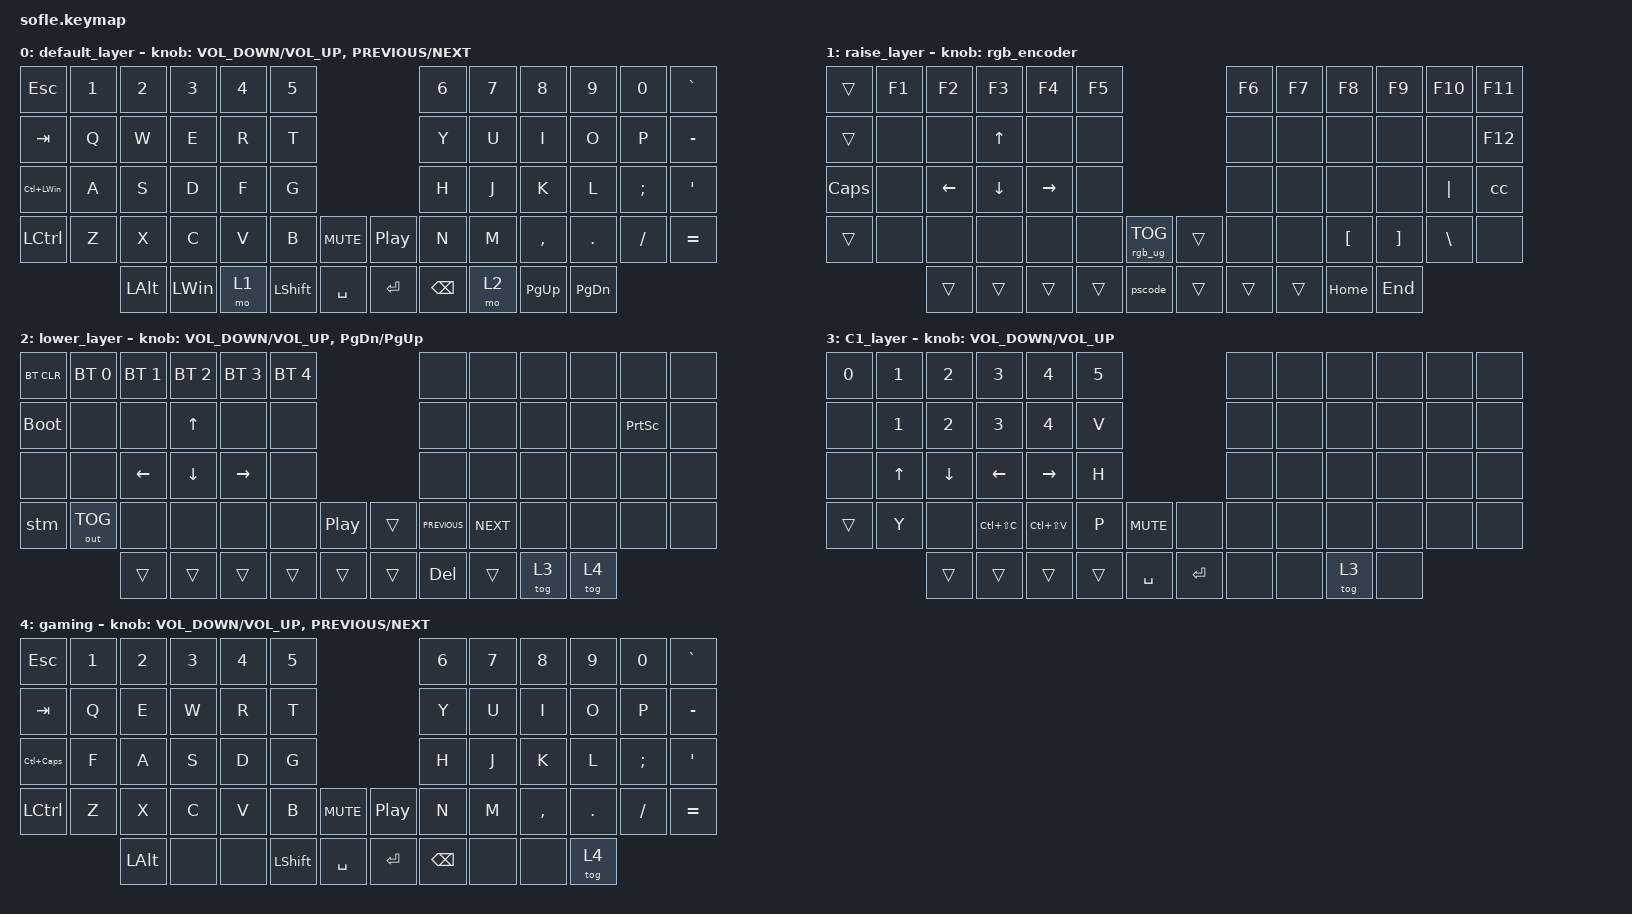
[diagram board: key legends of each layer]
/*
 * Copyright (c) 2020 The ZMK Contributors
 *
 * SPDX-License-Identifier: MIT
 */

#include <behaviors.dtsi>
#include <dt-bindings/zmk/bt.h>
#include <dt-bindings/zmk/keys.h>
#include <dt-bindings/zmk/outputs.h>
#include <dt-bindings/zmk/rgb.h>

&left_encoder { resolution = <2>; };

&right_encoder { resolution = <2>; };

/ {
    macros {
        // System and Power

        tm: tm {
            label = "TASK_MANAGER";
            compatible = "zmk,behavior-macro";
            #binding-cells = <0>;
            bindings =
                <&macro_press>,
                <&kp LCTRL &kp LSHFT>,
                <&macro_tap>,
                <&kp ESC>,
                <&macro_release>,
                <&kp LCTRL &kp LSHFT>;
        };

        slp: slp {
            label = "SLEEP";
            compatible = "zmk,behavior-macro";
            #binding-cells = <0>;
            bindings =
                <&macro_press>,
                <&kp LGUI>,
                <&macro_tap>,
                <&kp X>,
                <&macro_release>,
                <&kp LGUI>,
                <&macro_tap>,
                <&kp U &kp S>;
        };

        rst: rst {
            label = "RESTART";
            compatible = "zmk,behavior-macro";
            #binding-cells = <0>;
            bindings =
                <&macro_press>,
                <&kp LGUI>,
                <&macro_tap>,
                <&kp X>,
                <&macro_release>,
                <&kp LGUI>,
                <&macro_tap>,
                <&kp U &kp R>;
        };

        off: off {
            label = "SHUTDOWN";
            compatible = "zmk,behavior-macro";
            #binding-cells = <0>;
            bindings =
                <&macro_press>,
                <&kp LGUI>,
                <&macro_tap>,
                <&kp X>,
                <&macro_release>,
                <&kp LGUI>,
                <&macro_tap>,
                <&kp U &kp U>;
        };

        // Bluetooth

        ubt0: ubt0 {
            label = "USE_BLUE_TOOTH_0";
            compatible = "zmk,behavior-macro";
            #binding-cells = <0>;
            wait-ms = <0>;
            tap-ms = <0>;
            bindings =
                <&macro_tap>,
                <&bt BT_SEL 0>,
                <&macro_tap>,
                <&rgb_ug RGB_COLOR_HSB(240,100,20)>;
        };

        ubt1: ubt1 {
            label = "USE_BLUE_TOOTH_1";
            compatible = "zmk,behavior-macro";
            #binding-cells = <0>;
            wait-ms = <0>;
            tap-ms = <0>;
            bindings =
                <&macro_tap>,
                <&bt BT_SEL 1>,
                <&macro_tap>,
                <&rgb_ug RGB_COLOR_HSB(120,100,20)>;
        };

        ubt2: ubt2 {
            label = "USE_BLUE_TOOTH_2";
            compatible = "zmk,behavior-macro";
            #binding-cells = <0>;
            wait-ms = <0>;
            tap-ms = <0>;
            bindings =
                <&macro_tap>,
                <&bt BT_SEL 2>,
                <&macro_tap>,
                <&rgb_ug RGB_COLOR_HSB(0,100,20)>;
        };

        // Various Macros

        teams_mute: teams_mute {
            label = "TEAMS_MUTE";
            compatible = "zmk,behavior-macro";
            #binding-cells = <0>;
            tap-ms = <0>;
            wait-ms = <0>;
            bindings =
                <&macro_tap>,
                <&bt BT_SEL 1>,
                <&macro_wait_time 100>,
                <&macro_press>,
                <&kp LGUI>,
                <&macro_tap>,
                <&kp N3>,
                <&macro_release>,
                <&kp LGUI>,
                <&macro_wait_time 50>,
                <&macro_press>,
                <&kp LCTRL &kp LSHFT>,
                <&macro_tap>,
                <&kp M>,
                <&macro_release>,
                <&kp LCTRL &kp LSHFT>;
        };

        // Windows alt code Special Characters        

        smfada_a: smfada_a {
            label = "SMALL_FADA_A";
            compatible = "zmk,behavior-macro";
            #binding-cells = <0>;
            tap-ms = <0>;
            wait-ms = <0>;
            bindings =
                <&macro_press>,
                <&kp LALT>,
                <&macro_tap>,
                <&kp KP_N0 &kp KP_N2 &kp KP_N2 &kp KP_N5>,
                <&macro_release>,
                <&kp LALT>;
        };

        lfada_a: lfada_a {
            label = "LARGE_FADA_A";
            compatible = "zmk,behavior-macro";
            #binding-cells = <0>;
            tap-ms = <0>;
            wait-ms = <0>;
            bindings =
                <&macro_press>,
                <&kp LALT>,
                <&macro_tap>,
                <&kp KP_N0 &kp KP_N1 &kp KP_N9 &kp KP_N3>,
                <&macro_release>,
                <&kp LALT>;
        };

        smumlaut_a: smumlaut_a {
            label = "SMALL_UMLAUT_A";
            compatible = "zmk,behavior-macro";
            #binding-cells = <0>;
            tap-ms = <0>;
            wait-ms = <0>;
            bindings =
                <&macro_press>,
                <&kp LALT>,
                <&macro_tap>,
                <&kp KP_N0 &kp KP_N2 &kp KP_N2 &kp KP_N8>,
                <&macro_release>,
                <&kp LALT>;
        };

        lumlaut_a: lumlaut_a {
            label = "LARGE_UMLAUT_A";
            compatible = "zmk,behavior-macro";
            #binding-cells = <0>;
            tap-ms = <0>;
            wait-ms = <0>;
            bindings =
                <&macro_press>,
                <&kp LALT>,
                <&macro_tap>,
                <&kp KP_N0 &kp KP_N1 &kp KP_N9 &kp KP_N6>,
                <&macro_release>,
                <&kp LALT>;
        };

        smlat_ae: smlat_ae {
            label = "SMALL_LATIN_AE";
            compatible = "zmk,behavior-macro";
            #binding-cells = <0>;
            tap-ms = <0>;
            wait-ms = <0>;
            bindings =
                <&macro_press>,
                <&kp LALT>,
                <&macro_tap>,
                <&kp KP_N0 &kp KP_N2 &kp KP_N3 &kp KP_N0>,
                <&macro_release>,
                <&kp LALT>;
        };

        lglat_ae: lglat_ae {
            label = "LARGE_LATIN_AE";
            compatible = "zmk,behavior-macro";
            #binding-cells = <0>;
            tap-ms = <0>;
            wait-ms = <0>;
            bindings =
                <&macro_press>,
                <&kp LALT>,
                <&macro_tap>,
                <&kp KP_N0 &kp KP_N1 &kp KP_N9 &kp KP_N8>,
                <&macro_release>,
                <&kp LALT>;
        };

        smfada_e: smfada_e {
            label = "SMALL_FADA_E";
            compatible = "zmk,behavior-macro";
            #binding-cells = <0>;
            tap-ms = <0>;
            wait-ms = <0>;
            bindings =
                <&macro_press>,
                <&kp LALT>,
                <&macro_tap>,
                <&kp KP_N0 &kp KP_N2 &kp KP_N3 &kp KP_N3>,
                <&macro_release>,
                <&kp LALT>;
        };

        lfada_e: lfada_e {
            label = "LARGE_FADA_E";
            compatible = "zmk,behavior-macro";
            #binding-cells = <0>;
            tap-ms = <0>;
            wait-ms = <0>;
            bindings =
                <&macro_press>,
                <&kp LALT>,
                <&macro_tap>,
                <&kp KP_N0 &kp KP_N2 &kp KP_N0 &kp KP_N1>,
                <&macro_release>,
                <&kp LALT>;
        };

        smfada_i: smfada_i {
            label = "SMALL_FADA_I";
            compatible = "zmk,behavior-macro";
            #binding-cells = <0>;
            tap-ms = <0>;
            wait-ms = <0>;
            bindings =
                <&macro_press>,
                <&kp LALT>,
                <&macro_tap>,
                <&kp KP_N0 &kp KP_N2 &kp KP_N3 &kp KP_N7>,
                <&macro_release>,
                <&kp LALT>;
        };

        lfada_i: lfada_i {
            label = "LARGE_FADA_I";
            compatible = "zmk,behavior-macro";
            #binding-cells = <0>;
            tap-ms = <0>;
            wait-ms = <0>;
            bindings =
                <&macro_press>,
                <&kp LALT>,
                <&macro_tap>,
                <&kp KP_N0 &kp KP_N2 &kp KP_N0 &kp KP_N5>,
                <&macro_release>,
                <&kp LALT>;
        };

        smfada_o: smfada_o {
            label = "SMALL_FADA_O";
            compatible = "zmk,behavior-macro";
            #binding-cells = <0>;
            tap-ms = <0>;
            wait-ms = <0>;
            bindings =
                <&macro_press>,
                <&kp LALT>,
                <&macro_tap>,
                <&kp KP_N0 &kp KP_N2 &kp KP_N4 &kp KP_N3>,
                <&macro_release>,
                <&kp LALT>;
        };

        lfada_o: lfada_o {
            label = "LARGE_FADA_O";
            compatible = "zmk,behavior-macro";
            #binding-cells = <0>;
            tap-ms = <0>;
            wait-ms = <0>;
            bindings =
                <&macro_press>,
                <&kp LALT>,
                <&macro_tap>,
                <&kp KP_N0 &kp KP_N2 &kp KP_N1 &kp KP_N1>,
                <&macro_release>,
                <&kp LALT>;
        };

        smumlaut_o: smumlaut_o {
            label = "SMALL_UMLAUT_O";
            compatible = "zmk,behavior-macro";
            #binding-cells = <0>;
            tap-ms = <0>;
            wait-ms = <0>;
            bindings =
                <&macro_press>,
                <&kp LALT>,
                <&macro_tap>,
                <&kp KP_N0 &kp KP_N2 &kp KP_N4 &kp KP_N6>,
                <&macro_release>,
                <&kp LALT>;
        };

        lumlaut_o: lumlaut_o {
            label = "LARGE_UMLAUT_O";
            compatible = "zmk,behavior-macro";
            #binding-cells = <0>;
            tap-ms = <0>;
            wait-ms = <0>;
            bindings =
                <&macro_press>,
                <&kp LALT>,
                <&macro_tap>,
                <&kp KP_N0 &kp KP_N2 &kp KP_N1 &kp KP_N4>,
                <&macro_release>,
                <&kp LALT>;
        };

        smfada_u: smfada_u {
            label = "SMALL_FADA_U";
            compatible = "zmk,behavior-macro";
            #binding-cells = <0>;
            tap-ms = <0>;
            wait-ms = <0>;
            bindings =
                <&macro_press>,
                <&kp LALT>,
                <&macro_tap>,
                <&kp KP_N0 &kp KP_N2 &kp KP_N5 &kp KP_N0>,
                <&macro_release>,
                <&kp LALT>;
        };

        lfada_u: lfada_u {
            label = "LARGE_FADA_U";
            compatible = "zmk,behavior-macro";
            #binding-cells = <0>;
            tap-ms = <0>;
            wait-ms = <0>;
            bindings =
                <&macro_press>,
                <&kp LALT>,
                <&macro_tap>,
                <&kp KP_N0 &kp KP_N2 &kp KP_N1 &kp KP_N8>,
                <&macro_release>,
                <&kp LALT>;
        };

        smumlaut_u: smumlaut_u {
            label = "SMALL_UMLAUT_U";
            compatible = "zmk,behavior-macro";
            #binding-cells = <0>;
            tap-ms = <0>;
            wait-ms = <0>;
            bindings =
                <&macro_press>,
                <&kp LALT>,
                <&macro_tap>,
                <&kp KP_N0 &kp KP_N2 &kp KP_N5 &kp KP_N2>,
                <&macro_release>,
                <&kp LALT>;
        };

        lumlaut_u: lumlaut_u {
            label = "LARGE_UMLAUT_U";
            compatible = "zmk,behavior-macro";
            #binding-cells = <0>;
            tap-ms = <0>;
            wait-ms = <0>;
            bindings =
                <&macro_press>,
                <&kp LALT>,
                <&macro_tap>,
                <&kp KP_N0 &kp KP_N2 &kp KP_N2 &kp KP_N0>,
                <&macro_release>,
                <&kp LALT>;
        };

        smtil_n: smtil_n {
            label = "SMALL_TILDE_N";
            compatible = "zmk,behavior-macro";
            #binding-cells = <0>;
            tap-ms = <0>;
            wait-ms = <0>;
            bindings =
                <&macro_press>,
                <&kp LALT>,
                <&macro_tap>,
                <&kp KP_N0 &kp KP_N2 &kp KP_N4 &kp KP_N1>,
                <&macro_release>,
                <&kp LALT>;
        };

        ltil_n: ltil_n {
            label = "LARGE_TILDE_N";
            compatible = "zmk,behavior-macro";
            #binding-cells = <0>;
            tap-ms = <0>;
            wait-ms = <0>;
            bindings =
                <&macro_press>,
                <&kp LALT>,
                <&macro_tap>,
                <&kp KP_N0 &kp KP_N2 &kp KP_N0 &kp KP_N9>,
                <&macro_release>,
                <&kp LALT>;
        };

        essette_s: essette_s {
            label = "ESSETTE_S";
            compatible = "zmk,behavior-macro";
            #binding-cells = <0>;
            tap-ms = <0>;
            wait-ms = <0>;
            bindings =
                <&macro_press>,
                <&kp LALT>,
                <&macro_tap>,
                <&kp KP_N0 &kp KP_N2 &kp KP_N2 &kp KP_N3>,
                <&macro_release>,
                <&kp LALT>;
        };

        //Unicode Special Characters
        //Need regkey HKEY_CURRENT_USER\Control Panel\Input Method, REG_SZ EnableHexNumpad = 1
        //Symbols

        euro: euro {
            label = "EURO";
            compatible = "zmk,behavior-macro";
            #binding-cells = <0>;
            tap-ms = <0>;
            wait-ms = <0>;
            bindings =
                <&macro_press>,
                <&kp LALT>,
                <&macro_tap>,
                <&kp KP_PLUS &kp KP_N2 &kp KP_N0 &kp A &kp C>,
                <&macro_release>,
                <&kp LALT>;
        };

        us_cent: us_cent {
            label = "US_CENT";
            compatible = "zmk,behavior-macro";
            #binding-cells = <0>;
            tap-ms = <0>;
            wait-ms = <0>;
            bindings =
                <&macro_press>,
                <&kp LALT>,
                <&macro_tap>,
                <&kp KP_PLUS &kp KP_N0 &kp KP_N0 &kp A &kp KP_N2>,
                <&macro_release>,
                <&kp LALT>;
        };

        uk_pnd: uk_pnd {
            label = "UK_POUND";
            compatible = "zmk,behavior-macro";
            #binding-cells = <0>;
            tap-ms = <0>;
            wait-ms = <0>;
            bindings =
                <&macro_press>,
                <&kp LALT>,
                <&macro_tap>,
                <&kp KP_PLUS &kp KP_N0 &kp KP_N0 &kp A &kp KP_N3>,
                <&macro_release>,
                <&kp LALT>;
        };

        degree: degree {
            label = "DEGREE_SIGN";
            compatible = "zmk,behavior-macro";
            #binding-cells = <0>;
            tap-ms = <0>;
            wait-ms = <0>;
            bindings =
                <&macro_press>,
                <&kp LALT>,
                <&macro_tap>,
                <&kp KP_PLUS &kp KP_N0 &kp KP_N0 &kp B &kp KP_N0>,
                <&macro_release>,
                <&kp LALT>;
        };

        inv_exc: inv_exc {
            label = "INVERTED_EXCLAMATION_MARK";
            compatible = "zmk,behavior-macro";
            #binding-cells = <0>;
            tap-ms = <0>;
            wait-ms = <0>;
            bindings =
                <&macro_press>,
                <&kp LALT>,
                <&macro_tap>,
                <&kp KP_PLUS &kp KP_N0 &kp KP_N0 &kp A &kp KP_N1>,
                <&macro_release>,
                <&kp LALT>;
        };

        inv_ques: inv_ques {
            label = "INVERTED_QUESTION_MARK";
            compatible = "zmk,behavior-macro";
            #binding-cells = <0>;
            tap-ms = <0>;
            wait-ms = <0>;
            bindings =
                <&macro_press>,
                <&kp LALT>,
                <&macro_tap>,
                <&kp KP_PLUS &kp KP_N0 &kp KP_N0 &kp B &kp F>,
                <&macro_release>,
                <&kp LALT>;
        };

        plus_min: plus_min {
            label = "PLUS_MINUS_SIGN";
            compatible = "zmk,behavior-macro";
            #binding-cells = <0>;
            tap-ms = <0>;
            wait-ms = <0>;
            bindings =
                <&macro_press>,
                <&kp LALT>,
                <&macro_tap>,
                <&kp KP_PLUS &kp KP_N0 &kp KP_N0 &kp B &kp KP_N1>,
                <&macro_release>,
                <&kp LALT>;
        };

        //IPA

        schwa: schwa {
            label = "SCHWA";
            compatible = "zmk,behavior-macro";
            #binding-cells = <0>;
            tap-ms = <0>;
            wait-ms = <0>;
            bindings =
                <&macro_press>,
                <&kp LALT>,
                <&macro_tap>,
                <&kp KP_PLUS &kp KP_N0 &kp KP_N2 &kp KP_N5 &kp KP_N9>,
                <&macro_release>,
                <&kp LALT>;
        };

        //Diacritical Characters

        smogo_a: smogo_a {
            label = "SMALL_OGONEK_A";
            compatible = "zmk,behavior-macro";
            #binding-cells = <0>;
            tap-ms = <0>;
            wait-ms = <0>;
            bindings =
                <&macro_press>,
                <&kp LALT>,
                <&macro_tap>,
                <&kp KP_PLUS &kp KP_N0 &kp KP_N1 &kp KP_N0 &kp KP_N5>,
                <&macro_release>,
                <&kp LALT>;
        };

        logo_a: logo_a {
            label = "LARGE_OGONEK_A";
            compatible = "zmk,behavior-macro";
            #binding-cells = <0>;
            tap-ms = <0>;
            wait-ms = <0>;
            bindings =
                <&macro_press>,
                <&kp LALT>,
                <&macro_tap>,
                <&kp KP_PLUS &kp KP_N0 &kp KP_N1 &kp KP_N0 &kp KP_N4>,
                <&macro_release>,
                <&kp LALT>;
        };

        smogo_e: smogo_e {
            label = "SMALL_OGONEK_E";
            compatible = "zmk,behavior-macro";
            #binding-cells = <0>;
            tap-ms = <0>;
            wait-ms = <0>;
            bindings =
                <&macro_press>,
                <&kp LALT>,
                <&macro_tap>,
                <&kp KP_PLUS &kp KP_N0 &kp KP_N1 &kp KP_N1 &kp KP_N9>,
                <&macro_release>,
                <&kp LALT>;
        };

        logo_e: logo_e {
            label = "LARGE_OGONEK_E";
            compatible = "zmk,behavior-macro";
            #binding-cells = <0>;
            tap-ms = <0>;
            wait-ms = <0>;
            bindings =
                <&macro_press>,
                <&kp LALT>,
                <&macro_tap>,
                <&kp KP_PLUS &kp KP_N0 &kp KP_N1 &kp KP_N1 &kp KP_N8>,
                <&macro_release>,
                <&kp LALT>;
        };

        smacute_c: smacute_c {
            label = "SMALL_ACUTE_C";
            compatible = "zmk,behavior-macro";
            #binding-cells = <0>;
            tap-ms = <0>;
            wait-ms = <0>;
            bindings =
                <&macro_press>,
                <&kp LALT>,
                <&macro_tap>,
                <&kp KP_PLUS &kp KP_N0 &kp KP_N1 &kp KP_N0 &kp KP_N7>,
                <&macro_release>,
                <&kp LALT>;
        };

        lacute_c: lacute_c {
            label = "LARGE_ACUTE_C";
            compatible = "zmk,behavior-macro";
            #binding-cells = <0>;
            tap-ms = <0>;
            wait-ms = <0>;
            bindings =
                <&macro_press>,
                <&kp LALT>,
                <&macro_tap>,
                <&kp KP_PLUS &kp KP_N0 &kp KP_N1 &kp KP_N0 &kp KP_N6>,
                <&macro_release>,
                <&kp LALT>;
        };

        smdark_l: smdark_l {
            label = "SMALL_DARK_L";
            compatible = "zmk,behavior-macro";
            #binding-cells = <0>;
            tap-ms = <0>;
            wait-ms = <0>;
            bindings =
                <&macro_press>,
                <&kp LALT>,
                <&macro_tap>,
                <&kp KP_PLUS &kp KP_N0 &kp KP_N1 &kp KP_N4 &kp KP_N2>,
                <&macro_release>,
                <&kp LALT>;
        };

        ldark_l: ldark_l {
            label = "LARGE_DARK_L";
            compatible = "zmk,behavior-macro";
            #binding-cells = <0>;
            tap-ms = <0>;
            wait-ms = <0>;
            bindings =
                <&macro_press>,
                <&kp LALT>,
                <&macro_tap>,
                <&kp KP_PLUS &kp KP_N0 &kp KP_N1 &kp KP_N4 &kp KP_N1>,
                <&macro_release>,
                <&kp LALT>;
        };

        smacute_n: smacute_n {
            label = "SMALL_ACUTE_N";
            compatible = "zmk,behavior-macro";
            #binding-cells = <0>;
            tap-ms = <0>;
            wait-ms = <0>;
            bindings =
                <&macro_press>,
                <&kp LALT>,
                <&macro_tap>,
                <&kp KP_PLUS &kp KP_N0 &kp KP_N1 &kp KP_N4 &kp KP_N4>,
                <&macro_release>,
                <&kp LALT>;
        };

        lacute_n: lacute_n {
            label = "LARGE_ACUTE_N";
            compatible = "zmk,behavior-macro";
            #binding-cells = <0>;
            tap-ms = <0>;
            wait-ms = <0>;
            bindings =
                <&macro_press>,
                <&kp LALT>,
                <&macro_tap>,
                <&kp KP_PLUS &kp KP_N0 &kp KP_N1 &kp KP_N4 &kp KP_N3>,
                <&macro_release>,
                <&kp LALT>;
        };

        smacute_s: smacute_s {
            label = "SMALL_ACUTE_S";
            compatible = "zmk,behavior-macro";
            #binding-cells = <0>;
            tap-ms = <0>;
            wait-ms = <0>;
            bindings =
                <&macro_press>,
                <&kp LALT>,
                <&macro_tap>,
                <&kp KP_PLUS &kp KP_N0 &kp KP_N1 &kp KP_N5 &kp B>,
                <&macro_release>,
                <&kp LALT>;
        };

        lacute_s: lacute_s {
            label = "LARGE_ACUTE_S";
            compatible = "zmk,behavior-macro";
            #binding-cells = <0>;
            tap-ms = <0>;
            wait-ms = <0>;
            bindings =
                <&macro_press>,
                <&kp LALT>,
                <&macro_tap>,
                <&kp KP_PLUS &kp KP_N0 &kp KP_N1 &kp KP_N5 &kp A>,
                <&macro_release>,
                <&kp LALT>;
        };

        smacute_z: smacute_z {
            label = "SMALL_ACUTE_Z";
            compatible = "zmk,behavior-macro";
            #binding-cells = <0>;
            tap-ms = <0>;
            wait-ms = <0>;
            bindings =
                <&macro_press>,
                <&kp LALT>,
                <&macro_tap>,
                <&kp KP_PLUS &kp KP_N0 &kp KP_N1 &kp KP_N7 &kp A>,
                <&macro_release>,
                <&kp LALT>;
        };

        lacute_z: lacute_z {
            label = "LARGE_ACUTE_Z";
            compatible = "zmk,behavior-macro";
            #binding-cells = <0>;
            tap-ms = <0>;
            wait-ms = <0>;
            bindings =
                <&macro_press>,
                <&kp LALT>,
                <&macro_tap>,
                <&kp KP_PLUS &kp KP_N0 &kp KP_N1 &kp KP_N7 &kp KP_N9>,
                <&macro_release>,
                <&kp LALT>;
        };

        smdot_z: smdot_z {
            label = "SMALL_DOT_Z";
            compatible = "zmk,behavior-macro";
            #binding-cells = <0>;
            tap-ms = <0>;
            wait-ms = <0>;
            bindings =
                <&macro_press>,
                <&kp LALT>,
                <&macro_tap>,
                <&kp KP_PLUS &kp KP_N0 &kp KP_N1 &kp KP_N7 &kp C>,
                <&macro_release>,
                <&kp LALT>;
        };

        ldot_z: ldot_z {
            label = "LARGE_DOT_Z";
            compatible = "zmk,behavior-macro";
            #binding-cells = <0>;
            tap-ms = <0>;
            wait-ms = <0>;
            bindings =
                <&macro_press>,
                <&kp LALT>,
                <&macro_tap>,
                <&kp KP_PLUS &kp KP_N0 &kp KP_N1 &kp KP_N7 &kp B>,
                <&macro_release>,
                <&kp LALT>;
        };

        // Fractions

        one_half: one_half {
            label = "ONE_HALF";
            compatible = "zmk,behavior-macro";
            #binding-cells = <0>;
            tap-ms = <0>;
            wait-ms = <0>;
            bindings =
                <&macro_press>,
                <&kp LALT>,
                <&macro_tap>,
                <&kp KP_PLUS &kp KP_N0 &kp KP_N0 &kp B &kp D>,
                <&macro_release>,
                <&kp LALT>;
        };

        one_third: one_third {
            label = "ONE_THIRD";
            compatible = "zmk,behavior-macro";
            #binding-cells = <0>;
            tap-ms = <0>;
            wait-ms = <0>;
            bindings =
                <&macro_press>,
                <&kp LALT>,
                <&macro_tap>,
                <&kp KP_PLUS &kp KP_N2 &kp KP_N1 &kp KP_N5 &kp KP_N3>,
                <&macro_release>,
                <&kp LALT>;
        };

        one_fourth: one_fourth {
            label = "ONE_FOURTH";
            compatible = "zmk,behavior-macro";
            #binding-cells = <0>;
            tap-ms = <0>;
            wait-ms = <0>;
            bindings =
                <&macro_press>,
                <&kp LALT>,
                <&macro_tap>,
                <&kp KP_PLUS &kp KP_N0 &kp KP_N0 &kp B &kp C>,
                <&macro_release>,
                <&kp LALT>;
        };

        one_eighth: one_eighth {
            label = "ONE_EIGHTH";
            compatible = "zmk,behavior-macro";
            #binding-cells = <0>;
            tap-ms = <0>;
            wait-ms = <0>;
            bindings =
                <&macro_press>,
                <&kp LALT>,
                <&macro_tap>,
                <&kp KP_PLUS &kp KP_N2 &kp KP_N1 &kp KP_N5 &kp B>,
                <&macro_release>,
                <&kp LALT>;
        };

        two_thirds: two_thirds {
            label = "TWO_THIRDS";
            compatible = "zmk,behavior-macro";
            #binding-cells = <0>;
            tap-ms = <0>;
            wait-ms = <0>;
            bindings =
                <&macro_press>,
                <&kp LALT>,
                <&macro_tap>,
                <&kp KP_PLUS &kp KP_N2 &kp KP_N1 &kp KP_N5 &kp KP_N4>,
                <&macro_release>,
                <&kp LALT>;
        };

        three_fourths: three_fourths {
            label = "THREE_FOURTHS";
            compatible = "zmk,behavior-macro";
            #binding-cells = <0>;
            tap-ms = <0>;
            wait-ms = <0>;
            bindings =
                <&macro_press>,
                <&kp LALT>,
                <&macro_tap>,
                <&kp KP_PLUS &kp KP_N0 &kp KP_N0 &kp B &kp E>,
                <&macro_release>,
                <&kp LALT>;
        };

        three_eighths: three_eighths {
            label = "THREE_EIGHTHS";
            compatible = "zmk,behavior-macro";
            #binding-cells = <0>;
            tap-ms = <0>;
            wait-ms = <0>;
            bindings =
                <&macro_press>,
                <&kp LALT>,
                <&macro_tap>,
                <&kp KP_PLUS &kp KP_N2 &kp KP_N1 &kp KP_N5 &kp C>,
                <&macro_release>,
                <&kp LALT>;
        };

        five_eighths: five_eighths {
            label = "FIVE_EIGHTHS";
            compatible = "zmk,behavior-macro";
            #binding-cells = <0>;
            tap-ms = <0>;
            wait-ms = <0>;
            bindings =
                <&macro_press>,
                <&kp LALT>,
                <&macro_tap>,
                <&kp KP_PLUS &kp KP_N2 &kp KP_N1 &kp KP_N5 &kp D>,
                <&macro_release>,
                <&kp LALT>;
        };

        seven_eighths: seven_eighths {
            label = "SEVEN_EIGHTHS";
            compatible = "zmk,behavior-macro";
            #binding-cells = <0>;
            tap-ms = <0>;
            wait-ms = <0>;
            bindings =
                <&macro_press>,
                <&kp LALT>,
                <&macro_tap>,
                <&kp KP_PLUS &kp KP_N2 &kp KP_N1 &kp KP_N5 &kp E>,
                <&macro_release>,
                <&kp LALT>;
        };

        // Operators

        less_equ: less_equ {
            label = "LESS_THEN_OR_EQUAL_TO";
            compatible = "zmk,behavior-macro";
            #binding-cells = <0>;
            tap-ms = <0>;
            wait-ms = <0>;
            bindings =
                <&macro_press>,
                <&kp LALT>,
                <&macro_tap>,
                <&kp KP_PLUS &kp KP_N2 &kp KP_N2 &kp KP_N6 &kp KP_N4>,
                <&macro_release>,
                <&kp LALT>;
        };

        gtr_equ: gtr_equ {
            label = "GREATER_THEN_OR_EQUAL_TO";
            compatible = "zmk,behavior-macro";
            #binding-cells = <0>;
            tap-ms = <0>;
            wait-ms = <0>;
            bindings =
                <&macro_press>,
                <&kp LALT>,
                <&macro_tap>,
                <&kp KP_PLUS &kp KP_N2 &kp KP_N2 &kp KP_N6 &kp KP_N5>,
                <&macro_release>,
                <&kp LALT>;
        };

        not_equ: not_equ {
            label = "DOES_NOT_EQUAL";
            compatible = "zmk,behavior-macro";
            #binding-cells = <0>;
            tap-ms = <0>;
            wait-ms = <0>;
            bindings =
                <&macro_press>,
                <&kp LALT>,
                <&macro_tap>,
                <&kp KP_PLUS &kp KP_N2 &kp KP_N2 &kp KP_N6 &kp KP_N0>,
                <&macro_release>,
                <&kp LALT>;
        };

        alm_equ: alm_equ {
            label = "ALMOST_EQUAL";
            compatible = "zmk,behavior-macro";
            #binding-cells = <0>;
            tap-ms = <0>;
            wait-ms = <0>;
            bindings =
                <&macro_press>,
                <&kp LALT>,
                <&macro_tap>,
                <&kp KP_PLUS &kp KP_N2 &kp KP_N2 &kp KP_N4 &kp KP_N8>,
                <&macro_release>,
                <&kp LALT>;
        };

        dbl_left: dbl_left {
            label = "DOUBLE_LEFT_MARKS";
            compatible = "zmk,behavior-macro";
            #binding-cells = <0>;
            tap-ms = <0>;
            wait-ms = <0>;
            bindings =
                <&macro_press>,
                <&kp LALT>,
                <&macro_tap>,
                <&kp KP_PLUS &kp KP_N0 &kp KP_N0 &kp A &kp B>,
                <&macro_release>,
                <&kp LALT>;
        };

        dbl_right: dbl_right {
            label = "DOUBLE_RIGHT_MARKS";
            compatible = "zmk,behavior-macro";
            #binding-cells = <0>;
            tap-ms = <0>;
            wait-ms = <0>;
            bindings =
                <&macro_press>,
                <&kp LALT>,
                <&macro_tap>,
                <&kp KP_PLUS &kp KP_N0 &kp KP_N0 &kp B &kp B>,
                <&macro_release>,
                <&kp LALT>;
        };
    };
};

//Combos, note that key listing is zero indexed
//lshift: 36
//rshift: 49

/ {
    combos {
        compatible = "zmk,combos";

        // Characters
        // Fractions
        // Operators
    };
};

// Mod Morphs, Encoder, Tap-Dances

/ {
    behaviors {
        // Mod Morph
        // RGB

        rgb_bri_sat_inc: rgb_bri_sat_inc {
            compatible = "zmk,behavior-mod-morph";
            label = "RGB_BRIGHTNESS_SATURATION_INCREASE";
            #binding-cells = <0>;
            bindings = <&rgb_ug RGB_SAI>, <&rgb_ug RGB_BRI>;

            mods = <(MOD_LALT|MOD_RALT)>;
        };

        rgb_bri_sat_dec: rgb_bri_sat_dec {
            compatible = "zmk,behavior-mod-morph";
            label = "RGB_BRIGHTNESS_SATURATION_DECREASE";
            #binding-cells = <0>;
            bindings = <&rgb_ug RGB_SAD>, <&rgb_ug RGB_BRD>;

            mods = <(MOD_LALT|MOD_RALT)>;
        };

        rgb_inc: rgb_inc {
            compatible = "zmk,behavior-mod-morph";
            label = "RGB_INCREASE";
            #binding-cells = <0>;
            bindings = <&rgb_ug RGB_HUI>, <&rgb_bri_sat_inc>;

            mods = <(MOD_LSFT|MOD_RSFT|MOD_LCTL|MOD_RCTL)>;
        };

        rgb_dec: rgb_dec {
            compatible = "zmk,behavior-mod-morph";
            label = "RGB_DECREASE";
            #binding-cells = <0>;
            bindings = <&rgb_ug RGB_HUD>, <&rgb_bri_sat_dec>;

            mods = <(MOD_LSFT|MOD_RSFT)>;
        };

        // System Functions  

        ret_menu: ret_menu {
            compatible = "zmk,behavior-mod-morph";
            label = "RETURN_MENU";
            #binding-cells = <0>;
            bindings = <&kp RET>, <&kp K_APPLICATION>;

            mods = <(MOD_LSFT|MOD_RSFT)>;
        };

        // Special Characters - Capitalizations

        fada_a: fada_a {
            compatible = "zmk,behavior-mod-morph";
            label = "FADA_A";
            #binding-cells = <0>;
            bindings = <&smfada_a>, <&lfada_a>;

            mods = <(MOD_LSFT|MOD_RSFT)>;
        };

        ogonek_a: ogonek_a {
            compatible = "zmk,behavior-mod-morph";
            label = "OGONEK_A";
            #binding-cells = <0>;
            bindings = <&smogo_a>, <&logo_a>;

            mods = <(MOD_LSFT|MOD_RSFT)>;
        };

        umlaut_a: umlaut_a {
            compatible = "zmk,behavior-mod-morph";
            label = "UMLAUT_A";
            #binding-cells = <0>;
            bindings = <&smumlaut_a>, <&lumlaut_a>;

            mods = <(MOD_LSFT|MOD_RSFT)>;
        };

        fada_e: fada_e {
            compatible = "zmk,behavior-mod-morph";
            label = "FADA_E";
            #binding-cells = <0>;
            bindings = <&smfada_e>, <&lfada_e>;

            mods = <(MOD_LSFT|MOD_RSFT)>;
        };

        ogonek_e: ogonek_e {
            compatible = "zmk,behavior-mod-morph";
            label = "OGONEK_E";
            #binding-cells = <0>;
            bindings = <&smogo_e>, <&logo_e>;

            mods = <(MOD_LSFT|MOD_RSFT)>;
        };

        fada_i: fada_i {
            compatible = "zmk,behavior-mod-morph";
            label = "FADA_I";
            #binding-cells = <0>;
            bindings = <&smfada_i>, <&lfada_i>;

            mods = <(MOD_LSFT|MOD_RSFT)>;
        };

        fada_o: fada_o {
            compatible = "zmk,behavior-mod-morph";
            label = "FADA_O";
            #binding-cells = <0>;
            bindings = <&smfada_o>, <&lfada_o>;

            mods = <(MOD_LSFT|MOD_RSFT)>;
        };

        umlaut_o: umlaut_o {
            compatible = "zmk,behavior-mod-morph";
            label = "UMLAUT_O";
            #binding-cells = <0>;
            bindings = <&smumlaut_o>, <&lumlaut_o>;

            mods = <(MOD_LSFT|MOD_RSFT)>;
        };

        fada_u: fada_u {
            compatible = "zmk,behavior-mod-morph";
            label = "FADA_U";
            #binding-cells = <0>;
            bindings = <&smfada_u>, <&lfada_u>;

            mods = <(MOD_LSFT|MOD_RSFT)>;
        };

        umlaut_u: umlaut_u {
            compatible = "zmk,behavior-mod-morph";
            label = "UMLAUT_U";
            #binding-cells = <0>;
            bindings = <&smumlaut_u>, <&lumlaut_u>;

            mods = <(MOD_LSFT|MOD_RSFT)>;
        };

        acute_c: acute_c {
            compatible = "zmk,behavior-mod-morph";
            label = "ACUTE_C";
            #binding-cells = <0>;
            bindings = <&smacute_c>, <&lacute_c>;

            mods = <(MOD_LSFT|MOD_RSFT)>;
        };

        dark_l: dark_l {
            compatible = "zmk,behavior-mod-morph";
            label = "DARK_L";
            #binding-cells = <0>;
            bindings = <&smdark_l>, <&ldark_l>;

            mods = <(MOD_LSFT|MOD_RSFT)>;
        };

        acute_n: acute_n {
            compatible = "zmk,behavior-mod-morph";
            label = "ACUTE_N";
            #binding-cells = <0>;
            bindings = <&smacute_n>, <&lacute_n>;

            mods = <(MOD_LSFT|MOD_RSFT)>;
        };

        tilde_n: tilde_n {
            compatible = "zmk,behavior-mod-morph";
            label = "TILDE_N";
            #binding-cells = <0>;
            bindings = <&smtil_n>, <&ltil_n>;

            mods = <(MOD_LSFT|MOD_RSFT)>;
        };

        acute_s: acute_s {
            compatible = "zmk,behavior-mod-morph";
            label = "ACUTE_S";
            #binding-cells = <0>;
            bindings = <&smacute_s>, <&lacute_s>;

            mods = <(MOD_LSFT|MOD_RSFT)>;
        };

        acute_z: acute_z {
            compatible = "zmk,behavior-mod-morph";
            label = "ACUTE_Z";
            #binding-cells = <0>;
            bindings = <&smacute_z>, <&lacute_z>;

            mods = <(MOD_LSFT|MOD_RSFT)>;
        };

        dot_z: dot_z {
            compatible = "zmk,behavior-mod-morph";
            label = "DOT_Z";
            #binding-cells = <0>;
            bindings = <&smdot_z>, <&ldot_z>;

            mods = <(MOD_LSFT|MOD_RSFT)>;
        };

        // Special Characters - Other

        lb_euro: lb_euro {
            compatible = "zmk,behavior-mod-morph";
            label = "POUND_EURO";
            #binding-cells = <0>;
            bindings = <&uk_pnd>, <&euro>;

            mods = <(MOD_LSFT|MOD_RSFT)>;
        };

        // Encoder

        rgb_encoder: rgb_encoder {
            compatible = "zmk,behavior-sensor-rotate";
            label = "RGB_ENCODER";
            #sensor-binding-cells = <0>;
            bindings = <&rgb_inc>, <&rgb_dec>;
        };

        // Tap Dance

        cc: cc {
            compatible = "zmk,behavior-tap-dance";
            label = "COLOR_CYCLE";
            #binding-cells = <0>;
            tapping-term-ms = <200>;
            bindings =
                <&rgb_ug RGB_COLOR_HSB(0,100,20)>,
                <&rgb_ug RGB_COLOR_HSB(10,100,20)>,
                <&rgb_ug RGB_COLOR_HSB(35,100,20)>,
                <&rgb_ug RGB_COLOR_HSB(120,100,20)>,
                <&rgb_ug RGB_COLOR_HSB(240,100,20)>,
                <&rgb_ug RGB_COLOR_HSB(285,100,20)>;
        };

        td_bt0: td_bt0 {
            compatible = "zmk,behavior-tap-dance";
            label = "TAP_DANCE_BLUE_TOOTH_0";
            #binding-cells = <0>;
            tapping-term-ms = <200>;
            bindings = <&bt BT_SEL 0>, <&ubt0>;
        };

        td_bt1: td_bt1 {
            compatible = "zmk,behavior-tap-dance";
            label = "TAP_DANCE_BLUE_TOOTH_1";
            #binding-cells = <0>;
            tapping-term-ms = <200>;
            bindings = <&bt BT_SEL 1>, <&ubt1>;
        };

        td_bt2: td_bt2 {
            compatible = "zmk,behavior-tap-dance";
            label = "TAP_DANCE_BLUE_TOOTH_2";
            #binding-cells = <0>;
            tapping-term-ms = <200>;
            bindings = <&bt BT_SEL 2>, <&ubt2>;
        };

        clcw: clcw {
            compatible = "zmk,behavior-tap-dance";
            label = "CAPS_LOCK_CAPS_WORD";
            #binding-cells = <0>;
            tapping-term-ms = <200>;
            bindings = <&kp CLCK>, <&caps_word>;
        };

        lscw: lscw {
            compatible = "zmk,behavior-tap-dance";
            label = "LEFT_SHIFT_CAPS_WORD";
            #binding-cells = <0>;
            tapping-term-ms = <200>;
            bindings = <&kp LSHFT>, <&caps_word>;
        };

        rscw: rscw {
            compatible = "zmk,behavior-tap-dance";
            label = "RIGHT_SHIFT_CAPS_WORD";
            #binding-cells = <0>;
            tapping-term-ms = <200>;
            bindings = <&kp RSHFT>, <&caps_word>;
        };

        stm: stm {
            compatible = "zmk,behavior-tap-dance";
            label = "SHIFT_TASK_MANAGER";
            #binding-cells = <0>;
            tapping-term-ms = <200>;
            bindings = <&kp LSHFT>, <&tm>;
        };

        pwr: pwr {
            compatible = "zmk,behavior-tap-dance";
            label = "POWER_COMMANDS";
            #binding-cells = <0>;
            tapping-term-ms = <200>;
            bindings = <&kp RSHFT>, <&slp>, <&rst>, <&off>;
        };

        td_btr: td_btr {
            compatible = "zmk,behavior-tap-dance";
            label = "TAP_DANCE_BLUE_TOOTH_RELEASE";
            #binding-cells = <0>;
            tapping-term-ms = <200>;
            bindings = <&kp ESC>, <&bt BT_CLR>;
        };

        pscode: pscode {
            compatible = "zmk,behavior-tap-dance";
            label = "POWER_SHELL_CODE";
            #binding-cells = <0>;
            tapping-term-ms = <200>;
            bindings = <&kp F5>, <&kp F8>;
        };

        td_ll_l3: td_ll_l3 {
            compatible = "zmk,behavior-tap-dance";
            label = "TAP_LEFT_LAYER_LAYER_3";
            #binding-cells = <0>;
            tapping-term-ms = <200>;
            bindings = <&mo 3>, <&sl 3>;
        };

        td_rl_l3: td_rl_l3 {
            compatible = "zmk,behavior-tap-dance";
            label = "TAP_RIGHT_LAYER_LAYER_3";
            #binding-cells = <0>;
            tapping-term-ms = <200>;
            bindings = <&mo 1>, <&sl 3>;
        };

        td_sp_a: td_sp_a {
            compatible = "zmk,behavior-tap-dance";
            label = "TAP_SPECIAL_A";
            #binding-cells = <0>;
            tapping-term-ms = <250>;
            bindings = <&fada_a>, <&ogonek_a>, <&umlaut_a>;
        };

        td_sp_e: td_sp_e {
            compatible = "zmk,behavior-tap-dance";
            label = "TAP_SPECIAL_E";
            #binding-cells = <0>;
            tapping-term-ms = <250>;
            bindings = <&fada_e>, <&ogonek_e>;
        };

        td_sp_o: td_sp_o {
            compatible = "zmk,behavior-tap-dance";
            label = "TAP_SPECIAL_O";
            #binding-cells = <0>;
            tapping-term-ms = <250>;
            bindings = <&fada_o>, <&umlaut_o>;
        };

        td_sp_u: td_sp_u {
            compatible = "zmk,behavior-tap-dance";
            label = "TAP_SPECIAL_U";
            #binding-cells = <0>;
            tapping-term-ms = <250>;
            bindings = <&fada_u>, <&umlaut_u>;
        };

        td_sp_n: td_sp_n {
            compatible = "zmk,behavior-tap-dance";
            label = "TAP_SPECIAL_N";
            #binding-cells = <0>;
            tapping-term-ms = <250>;
            bindings = <&acute_n>, <&tilde_n>;
        };

        td_sp_s: td_sp_s {
            compatible = "zmk,behavior-tap-dance";
            label = "TAP_SPECIAL_S";
            #binding-cells = <0>;
            tapping-term-ms = <200>;
            bindings = <&acute_s>, <&essette_s>;
        };

        td_sp_z: td_sp_z {
            compatible = "zmk,behavior-tap-dance";
            label = "TAP_SPECIAL_Z";
            #binding-cells = <0>;
            tapping-term-ms = <200>;
            bindings = <&acute_z>, <&dot_z>;
        };

        td_lt: td_lt {
            compatible = "zmk,behavior-tap-dance";
            label = "LESS_THEN_DOUBLE_LEFT_MARKS";
            #binding-cells = <0>;
            tapping-term-ms = <200>;
            bindings = <&kp LT>, <&dbl_left>;
        };

        td_gt: td_gt {
            compatible = "zmk,behavior-tap-dance";
            label = "GREATER_THAN_DOUBLE_RIGHT_MARKS";
            #binding-cells = <0>;
            tapping-term-ms = <200>;
            bindings = <&kp GT>, <&dbl_right>;
        };
    };

    keymap {
        compatible = "zmk,keymap";

        default_layer {
            // ------------------------------------------------------------------------------------------------------------
            // |  ESC  |  1  |  2  |  3   |  4   |  5   |                    |  6   |  7    |  8    |  9   |   0   | DEL   |
            // |  TAB  |  Q  |  W  |  E   |  R   |  T   |                    |  Y   |  U    |  I    |  O   |   P   | BKSPC |
            // | CAPS  |  A  |  S  |  D   |  F   |  G   |                    |  H   |  J    |  K    |  L   |   ;   |   '   |
            // | SHIFT |  Z  |  X  |  C   |  V   |  B   |MUTE SPK|  |MUTE MIC|  N   |  M    |  ,    |  .   |   /   | SHIFT |
            //               | GUI | ALT  | CTRL | LOWER|  ENTER |  | SPACE  | RAISE| CTRL  | ALT   | GUI  |

            bindings = <
&kp ESC           &kp N1  &kp N2        &kp N3        &kp N4  &kp N5                                        &kp N6         &kp N7  &kp N8       &kp N9         &kp N0    &kp GRAVE
&kp TAB           &kp Q   &kp W         &kp E         &kp R   &kp T                                         &kp Y          &kp U   &kp I        &kp O          &kp P     &kp MINUS
&kp LC(LEFT_WIN)  &kp A   &kp S         &kp D         &kp F   &kp G                                         &kp H          &kp J   &kp K        &kp L          &kp SEMI  &kp SQT
&kp LCTRL         &kp Z   &kp X         &kp C         &kp V   &kp B           &kp C_MUTE  &kp C_PLAY_PAUSE  &kp N          &kp M   &kp COMMA    &kp DOT        &kp FSLH  &kp EQUAL
                          &kp LEFT_ALT  &kp LEFT_WIN  &mo 1   &kp LEFT_SHIFT  &kp SPACE   &kp ENTER         &kp BACKSPACE  &mo 2   &kp PAGE_UP  &kp PAGE_DOWN
            >;

            sensor-bindings =
                <&inc_dec_kp C_VOLUME_DOWN C_VOLUME_UP>,
                <&inc_dec_kp C_PREVIOUS C_NEXT>;
        };

        raise_layer {
            // TODO: Some binds are waiting for shifted keycode support.
            // ------------------------------------------------------------------------------------------------------------
            // |    F1 |  F2 |  F3 |  F4  |  F5  |  F6  |                   |  F7  |  F8   |  F9   |  F10 |  F11  |  F12  |
            // |       |  `  |  ~  |  <   |  >   |  ?   |                   |  *   |  {    |  }    | HOME |  END  |       |
            // |       |  !  |  @  |  #   |  $   |  %   |                   |  _   |  (    |  )    |  ;   |   |   | COLOR |
            // |       |  =  |  -  |  +   |  &   |  |   |  RGB   |  |       |  ^   |  [    |  ]    |  :   |   \   | POWER |
            //               |     |      |      |      |  CODE  |  |       |      |       |       |      |

            bindings = <
&trans        &kp F1  &kp F2    &kp F3    &kp F4     &kp F5                           &kp F6  &kp F7  &kp F8            &kp F9             &kp F10        &kp F11
&trans        &none   &none     &kp UP    &none      &none                            &none   &none   &none             &none              &none          &kp F12
&kp CAPSLOCK  &none   &kp LEFT  &kp DOWN  &kp RIGHT  &none                            &none   &none   &none             &none              &kp PIPE       &cc
&trans        &none   &none     &none     &none      &none   &rgb_ug RGB_TOG  &trans  &none   &none   &kp LEFT_BRACKET  &kp RIGHT_BRACKET  &kp BACKSLASH  &none
                      &trans    &trans    &trans     &trans  &pscode          &trans  &trans  &trans  &kp HOME          &kp END
            >;

            sensor-bindings = <&rgb_encoder>;
        };

        lower_layer {
            // ------------------------------------------------------------------------------------------------------------
            // |BTCLR| BT1  | BT2  |  BT3  |  BT4  |  BT5 |                | HUE+ |  =  |   /   |   *  |   -   | EFF+ |
            // |BRI+ | PSCR | INS  |   ↑   |   @   |   %  |                | HUE- |  7  |   8   |   9  |   +   | BKSP |
            // |BRI- | RGB  |  ←   |   ↓   |   →   |   $  |                | SAT+ |  4  |   5   |   6  |   +   | SPD+ |
            // |TASK |BT/USB|      |  PREV |  NEXT |   #  |PL/PS |  |      | SAT- |  1  |   2   |   3  | ENTER | SPD- |
            //              |      |       |       |      |      |  |      |  0   |  0  |   0   |   .  |

            bindings = <
&bt BT_CLR   &bt BT_SEL 0  &bt BT_SEL 1  &bt BT_SEL 2  &bt BT_SEL 3  &bt BT_SEL 4                            &none           &none       &none   &none   &none            &none
&bootloader  &none         &none         &kp UP        &none         &none                                   &none           &none       &none   &none   &kp PRINTSCREEN  &none
&none        &none         &kp LEFT      &kp DOWN      &kp RIGHT     &none                                   &none           &none       &none   &none   &none            &none
&stm         &out OUT_TOG  &none         &none         &none         &none         &kp C_PLAY_PAUSE  &trans  &kp C_PREVIOUS  &kp C_NEXT  &none   &none   &none            &none
                           &trans        &trans        &trans        &trans        &trans            &trans  &kp DELETE      &trans      &tog 3  &tog 4
            >;

            sensor-bindings =
                <&inc_dec_kp C_VOLUME_DOWN C_VOLUME_UP>,
                <&inc_dec_kp PAGE_DOWN PAGE_UP>;
        };

        C1_layer {
            bindings = <
&kp NUMBER_0  &kp NUMBER_1  &kp NUMBER_2  &kp NUMBER_3   &kp NUMBER_4   &kp NUMBER_5                       &none  &none  &none   &none  &none  &none
&none         &kp NUMBER_1  &kp NUMBER_2  &kp NUMBER_3   &kp NUMBER_4   &kp V                              &none  &none  &none   &none  &none  &none
&none         &kp UP_ARROW  &kp DOWN      &kp LEFT       &kp RIGHT      &kp H                              &none  &none  &none   &none  &none  &none
&trans        &kp Y         &none         &kp LC(LS(C))  &kp LC(LS(V))  &kp P         &kp C_MUTE  &none    &none  &none  &none   &none  &none  &none
                            &trans        &trans         &trans         &trans        &kp SPACE   &kp RET  &none  &none  &tog 3  &none
            >;

            sensor-bindings = <&inc_dec_kp C_VOLUME_DOWN C_VOLUME_UP>;
        };

        gaming {
            bindings = <
&kp ESC       &kp N1  &kp N2        &kp N3  &kp N4  &kp N5                                        &kp N6         &kp N7  &kp N8     &kp N9   &kp N0    &kp GRAVE
&kp TAB       &kp Q   &kp E         &kp W   &kp R   &kp T                                         &kp Y          &kp U   &kp I      &kp O    &kp P     &kp MINUS
&kp LC(CAPS)  &kp F   &kp A         &kp S   &kp D   &kp G                                         &kp H          &kp J   &kp K      &kp L    &kp SEMI  &kp SQT
&kp LCTRL     &kp Z   &kp X         &kp C   &kp V   &kp B           &kp C_MUTE  &kp C_PLAY_PAUSE  &kp N          &kp M   &kp COMMA  &kp DOT  &kp FSLH  &kp EQUAL
                      &kp LEFT_ALT  &none   &none   &kp LEFT_SHIFT  &kp SPACE   &kp ENTER         &kp BACKSPACE  &none   &none      &tog 4
            >;

            sensor-bindings =
                <&inc_dec_kp C_VOLUME_DOWN C_VOLUME_UP>,
                <&inc_dec_kp C_PREVIOUS C_NEXT>;
        };
    };
};
